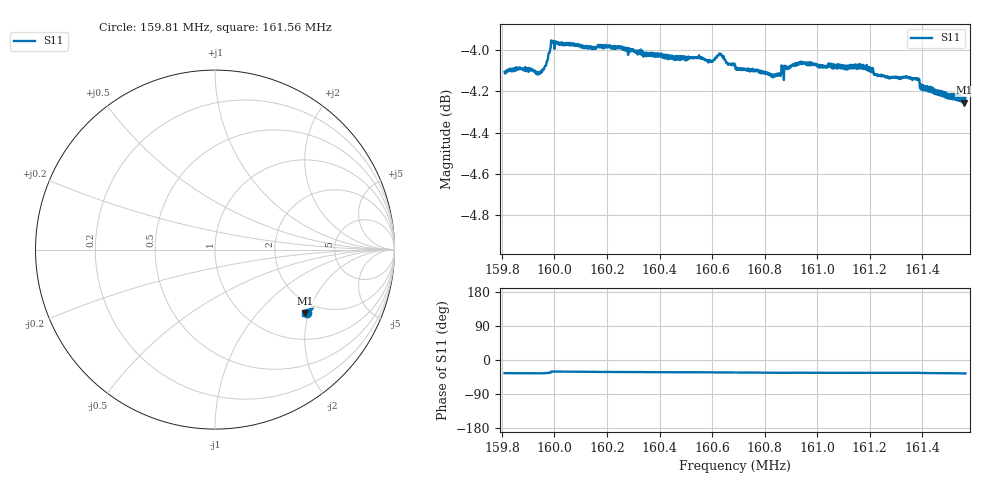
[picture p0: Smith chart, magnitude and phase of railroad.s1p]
! Calibrated averaged scanner-service zoom
# Hz S RI R 50
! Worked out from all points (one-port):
!   1001 points, 159.81 MHz to 161.56 MHz, reference 50 ohm
!   lowest |S11| = -4.3 dB at 161.56 MHz (marker M1), VSWR 4.16, Z = 83 - j94.3 ohm
!   |S11| at or under -10 dB: nowhere
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1.5981e8  0.5125 -0.355
1.598978e8  0.512 -0.358
1.599381e8  0.5084 -0.3591
1.599574e8  0.5109 -0.3583
1.599767e8  0.5219 -0.3521
1.599855e8  0.528 -0.3473
1.59996e8  0.5455 -0.3224
1.600294e8  0.5453 -0.3231
1.601715e8  0.5392 -0.3296
1.602488e8  0.5384 -0.3315
1.604681e8  0.5308 -0.3365
1.605506e8  0.5314 -0.337
1.605945e8  0.5283 -0.3379
1.606296e8  0.5296 -0.3409
1.606875e8  0.5252 -0.3404
1.60698e8  0.5217 -0.3428
1.608367e8  0.5176 -0.3444
1.608735e8  0.5131 -0.349
1.609069e8  0.5211 -0.3462
1.609385e8  0.5221 -0.346
1.611262e8  0.5193 -0.3483
1.612052e8  0.5187 -0.3483
1.612245e8  0.5176 -0.3454
1.613456e8  0.5169 -0.3453
1.613807e8  0.516 -0.3457
1.614e8  0.51 -0.3484
1.615615e8  0.4997 -0.3546
1.61565e8  0.501 -0.3558
